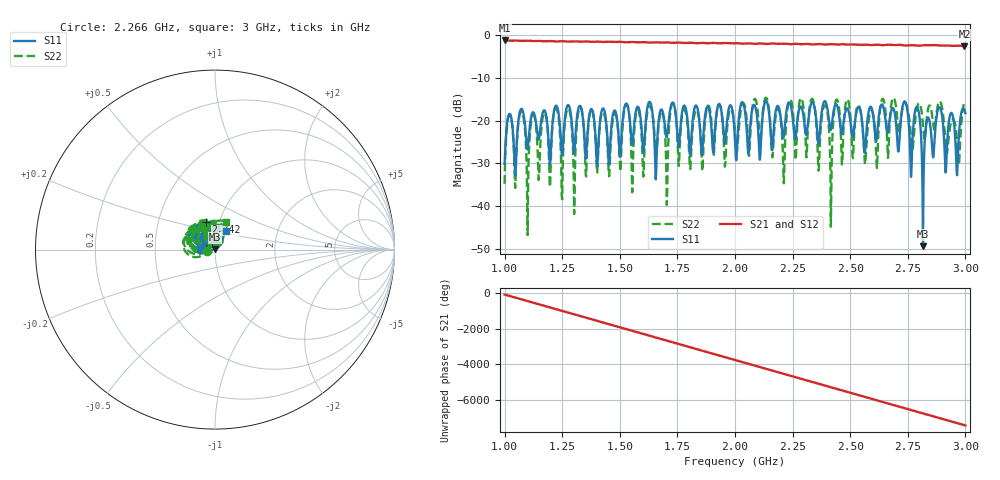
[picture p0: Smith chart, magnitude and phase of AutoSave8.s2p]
!Agilent N9923A: A.05.17
!Date: Sunday, 01 January 2006 13:48:00
!Model: N9923A
!Serial: MY50371189
!CHECKSUM:0463551391
!Correction: S11(ON U)S21(OFF)S12(OFF)S22(OFF)
!S2P File: Measurements:S11,S21,S12,S22:
# Hz S RI R 50
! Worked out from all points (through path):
!   1001 points, 1 GHz to 3 GHz, reference 50 ohm
!   highest |S21| = -1.19 dB at 1 GHz (marker M1); lowest = -2.5 dB at 2.996 GHz (marker M2)
!   group delay of S21, straight-line fit = 10.2 ns
!   lowest |S11| = -49.4 dB at 2.816 GHz (marker M3), VSWR 1.01, Z = 49.7 + j0.224 ohm
!   |S11| at or under -10 dB: start of sweep to end of sweep
!   |S22| runs from -46.8 to -14.6 dB; largest |S21 - S12| = 0.0025
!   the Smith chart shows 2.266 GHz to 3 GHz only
!   S11 on the Smith chart (normalised r, x): 2.266 GHz: 0.86, +0.01; 2.742 GHz: 0.87, +0.27; 3 GHz: 1.11, +0.24
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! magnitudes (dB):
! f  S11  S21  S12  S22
! 1 GHz  -30.1  -1.2  -1.2  -34.8
! 1.022 GHz  -18.4  -1.3  -1.3  -18.6
! 1.1 GHz  -26.7  -1.3  -1.3  -46.8
! 1.124 GHz  -18.0  -1.3  -1.3  -18.6
! 1.224 GHz  -16.5  -1.4  -1.4  -17.1
! 1.25 GHz  -28.1  -1.4  -1.4  -38.4
! 1.278 GHz  -16.4  -1.5  -1.5  -17.2
! 1.302 GHz  -27.6  -1.4  -1.4  -41.9
! 1.334 GHz  -17.3  -1.5  -1.5  -17.4
! 1.668 GHz  -20.3  -1.7  -1.6  -21.4
! 2 GHz  -24.5  -1.8  -1.8  -22.6
! 2.266 GHz  -22.5  -2.0  -2.0  -26.6
! 2.334 GHz  -15.7  -2.1  -2.1  -14.9
! 2.416 GHz  -22.1  -2.1  -2.1  -44.9
! 2.442 GHz  -16.3  -2.2  -2.2  -15.0
! 2.668 GHz  -21.1  -2.2  -2.2  -24.4
! 2.742 GHz  -15.9  -2.4  -2.4  -16.1
! 2.816 GHz  -49.4  -2.3  -2.3  -21.1
! 2.886 GHz  -16.9  -2.4  -2.3  -15.5
! 2.97 GHz  -25.2  -2.4  -2.4  -30.1
! 2.996 GHz  -17.5  -2.5  -2.5  -15.7
! 3 GHz  -18.2  -2.5  -2.5  -15.5
